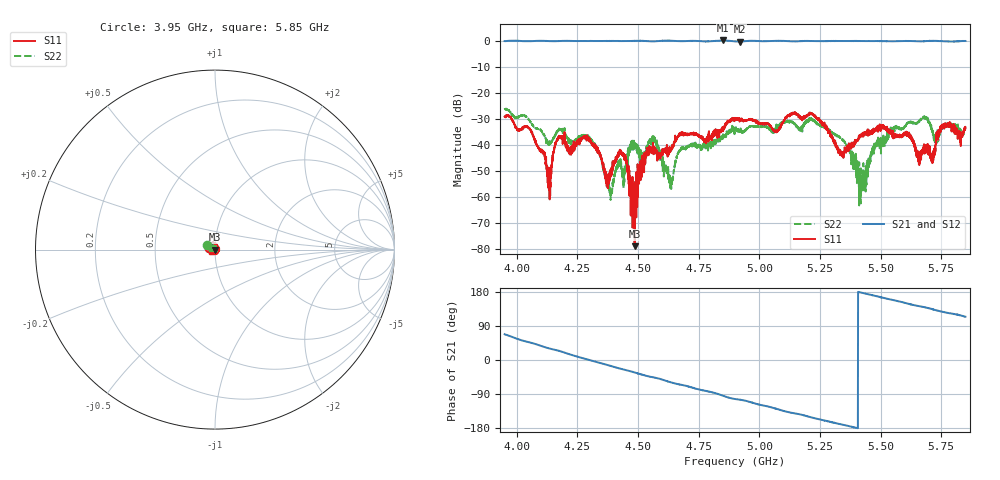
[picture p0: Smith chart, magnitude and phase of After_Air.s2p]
# GHZ S RI R 50.000000000000
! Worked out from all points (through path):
!   4501 points, 3.95 GHz to 5.85 GHz, reference 50 ohm
!   highest |S21| = 0.10 dB at 4.851 GHz (marker M1); lowest = -0.3 dB at 4.919 GHz (marker M2)
!   group delay of S21, straight-line fit = 452 ps
!   lowest |S11| = -78.9 dB at 4.486 GHz (marker M3), VSWR 1.00, Z = 50 + j0.00587 ohm
!   |S11| at or under -10 dB: start of sweep to end of sweep
!   |S22| runs from -63.3 to -26.1 dB; largest |S21 - S12| = 0.039
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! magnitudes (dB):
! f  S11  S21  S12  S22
! 3.95 GHz  -29.1  -0.1  -0.2  -26.3
! 4.055 GHz  -34.1  -0.2  -0.2  -31.0
! 4.134 GHz  -57.3  -0.1  -0.1  -39.4
! 4.172 GHz  -37.2  -0.1  -0.2  -34.5
! 4.267 GHz  -37.9  -0.1  -0.1  -37.0
! 4.33 GHz  -41.1  -0.1  -0.1  -40.9
! 4.386 GHz  -51.3  -0.1  -0.1  -58.7
! 4.433 GHz  -42.8  -0.1  -0.2  -49.4
! 4.486 GHz  -78.9  0.0  0.0  -40.8
! 4.535 GHz  -42.9  -0.1  -0.1  -42.7
! 4.584 GHz  -43.3  -0.2  -0.2  -40.6
! 4.636 GHz  -41.5  0.0  0.0  -53.4
! 4.678 GHz  -36.0  -0.2  -0.1  -41.6
! 4.851 GHz  -34.7  0.1  0.1  -35.9
! 4.9 GHz  -29.6  -0.2  -0.2  -34.3
! 4.919 GHz  -30.7  -0.3  -0.3  -34.3
! 5.217 GHz  -28.2  -0.1  -0.1  -30.3
! 5.34 GHz  -43.6  -0.1  -0.1  -37.6
! 5.418 GHz  -36.1  -0.1  -0.1  -62.5
! 5.534 GHz  -34.4  -0.2  -0.1  -35.9
! 5.658 GHz  -47.5  -0.2  -0.2  -30.6
! 5.85 GHz  -33.6  -0.1  -0.1  -33.6
